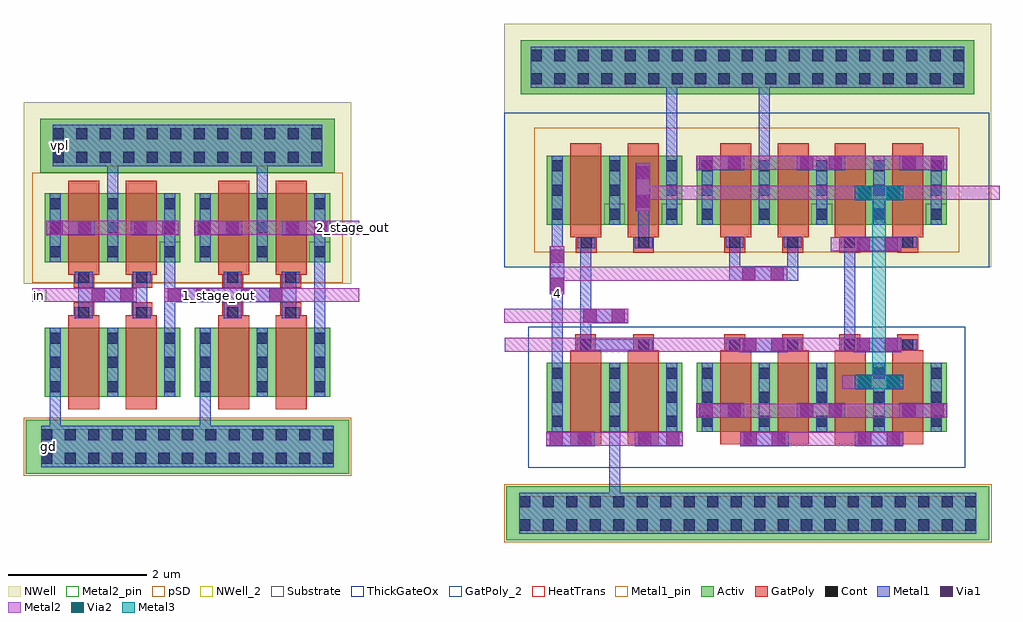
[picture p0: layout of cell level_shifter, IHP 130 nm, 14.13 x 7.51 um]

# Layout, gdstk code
from math import pi, radians
import gdstk
lib = gdstk.Library(unit=1e-6, precision=1e-09)
def R(c, l, rs):  # rectangles x0, y0, x1, y1
    for r in rs: c.add(gdstk.rectangle(r[:2], r[2:], *l))
def A(c, l, x, y, w, h, nx, ny, dx, dy):  # array of equal rectangles
    R(c, l, [(x+i*dx, y+j*dy, x+i*dx+w, y+j*dy+h) for i in range(nx) for j in range(ny)])
Activ = (1, 0)
GatPoly = (5, 0)
GatPoly_2 = (5, 2)
Cont = (6, 0)
Metal1 = (8, 0)
Metal1_pin = (8, 2)
Metal2 = (10, 0)
Metal2_pin = (10, 2)
pSD = (14, 0)
Via1 = (19, 0)
Via2 = (29, 0)
Metal3 = (30, 0)
NWell = (31, 0)
NWell_2 = (31, 2)
Substrate = (40, 0)
ThickGateOx = (44, 0)
HeatTrans = (51, 0)

nmos = lib.new_cell('nmos')
R(nmos, Activ, [(0,0,0.3,0.3), (0,0,1.13,1), (0.83,0,1.13,0.3)])
R(nmos, GatPoly, [(0.34,-0.18,0.79,1.18)])
R(nmos, GatPoly_2, [(0.34,-0.18,0.79,1.18)])
A(nmos, Cont, 0.07, 0.07, 0.16, 0.16, 1, 3, 0, 0.35)
A(nmos, Cont, 0.9, 0.07, 0.16, 0.16, 1, 3, 0, 0.35)
R(nmos, Metal1, [(0.07,0,0.23,1), (0.9,0,1.06,1)])
R(nmos, Metal1_pin, [(0.07,0,0.23,1), (0.9,0,1.06,1)])
R(nmos, HeatTrans, [(0.34,-0.18,0.79,1.18)])
nmos.add(gdstk.Label('nmos', (0.565,0.5), layer=63, texttype=0))
nmos.add(gdstk.Label('nmos', (0.565,0.5), layer=51, texttype=0))

pmos = lib.new_cell('pmos')
A(pmos, Activ, 0, 0, 0.3, 0.3, 3, 1, 0.83, 0)
R(pmos, Activ, [(0,0,1.96,1)])
R(pmos, GatPoly, [(0.34,-0.18,0.79,1.18), (0.34,-0.18,0.79,1.18), (1.17,-0.18,1.62,1.18)])
A(pmos, Cont, 0.07, 0.07, 0.16, 0.16, 3, 3, 0.83, 0.35)
R(pmos, Metal1, [(0.07,0,0.23,1), (0.07,0,0.23,1), (0.9,0,1.06,1), (0.9,0,1.06,1), (1.73,0,1.89,1)])
R(pmos, pSD, [(-0.18,-0.3,2.14,1.3)])
R(pmos, NWell, [(-0.31,-0.31,2.27,1.31)])
R(pmos, Substrate, [(1.66,0,1.96,0.3)])
R(pmos, HeatTrans, [(0.34,-0.18,0.79,1.18), (1.17,-0.18,1.62,1.18)])
pmos.add(gdstk.Label('pmos', (0.565,0.5), layer=63, texttype=0))
pmos.add(gdstk.Label('pmos', (0.565,0.5), layer=51, texttype=0))
pmos.add(gdstk.Label('pmos', (1.395,0.5), layer=51, texttype=0))

ntap1 = lib.new_cell('ntap1')
R(ntap1, Activ, [(0,0,4.27,0.78)])
A(ntap1, Cont, 0.185, 0.14, 0.16, 0.16, 12, 2, 0.34, 0.34)
R(ntap1, Metal1, [(0.185,0.09,4.085,0.69)])
R(ntap1, Metal1_pin, [(0.185,0.09,4.085,0.69), (0.185,0.14,4.085,0.64)])
R(ntap1, NWell, [(-0.24,-0.24,4.51,1.02), (0,0,4.27,0.78)])
R(ntap1, NWell_2, [(0,0,4.27,0.78)])
ntap1.add(gdstk.Label('well', (2.135,0.01), layer=31, texttype=0))
ntap1.add(gdstk.Label('well', (2.135,0.01), layer=63, texttype=0))

via_3 = lib.new_cell('Via$3')
R(via_3, Metal1, [(-0.35,-0.105,0.35,0.105)])
R(via_3, Metal2, [(-0.35,-0.1,0.35,0.1)])
R(via_3, Via1, [(-0.3,-0.095,-0.11,0.095), (0.11,-0.095,0.3,0.095)])

ptap1 = lib.new_cell('ptap1')
R(ptap1, Activ, [(0,0,4.69,0.78)])
A(ptap1, Cont, 0.225, 0.14, 0.16, 0.16, 13, 2, 0.34, 0.34)
R(ptap1, Metal1, [(0.225,0.09,4.465,0.69), (0.225,0.14,4.465,0.64)])
R(ptap1, Metal1_pin, [(0.225,0.14,4.465,0.64)])
R(ptap1, pSD, [(-0.03,-0.03,4.72,0.81)])
R(ptap1, Substrate, [(0,0,4.69,0.78)])
ptap1.add(gdstk.Label('sub!', (2.345,0.01), layer=63, texttype=0))
ptap1.add(gdstk.Label('sub!', (2.345,0.01), layer=40, texttype=0))

via = lib.new_cell('Via')
R(via, GatPoly, [(-0.15,-0.15,0.15,0.15)])
R(via, Cont, [(-0.08,-0.08,0.08,0.08)])
R(via, Metal1, [(-0.13,-0.08,0.13,0.08)])

pmoshv = lib.new_cell('pmosHV')
R(pmoshv, Activ, [(0,0,0.3,0.3), (0,0,1.13,1), (0.83,0,1.13,0.3)])
R(pmoshv, GatPoly, [(0.34,-0.18,0.79,1.18)])
R(pmoshv, GatPoly_2, [(0.34,-0.18,0.79,1.18)])
A(pmoshv, Cont, 0.07, 0.07, 0.16, 0.16, 1, 3, 0, 0.35)
A(pmoshv, Cont, 0.9, 0.07, 0.16, 0.16, 1, 3, 0, 0.35)
R(pmoshv, Metal1, [(0.07,0,0.23,1), (0.9,0,1.06,1)])
R(pmoshv, Metal1_pin, [(0.07,0,0.23,1), (0.9,0,1.06,1)])
R(pmoshv, pSD, [(-0.18,-0.4,1.31,1.4)])
R(pmoshv, NWell, [(-0.62,-0.62,1.75,1.62)])
R(pmoshv, Substrate, [(0.83,0,1.13,0.3)])
R(pmoshv, ThickGateOx, [(-0.62,-0.62,1.75,1.62)])
R(pmoshv, HeatTrans, [(0.34,-0.18,0.79,1.18)])
pmoshv.add(gdstk.Label('pmosHV', (0.565,0.5), layer=63, texttype=0))
pmoshv.add(gdstk.Label('pmos', (0.565,0.5), layer=51, texttype=0))

pmoshv_1 = lib.new_cell('pmosHV$1')
A(pmoshv_1, Activ, 0, 0, 0.3, 0.3, 3, 1, 0.83, 0)
R(pmoshv_1, Activ, [(0,0,1.96,1)])
R(pmoshv_1, GatPoly, [(0.34,-0.18,0.79,1.18), (1.17,-0.18,1.62,1.18)])
R(pmoshv_1, GatPoly_2, [(0.34,-0.18,0.79,1.18)])
A(pmoshv_1, Cont, 0.07, 0.07, 0.16, 0.16, 3, 3, 0.83, 0.35)
A(pmoshv_1, Metal1, 0.07, 0, 0.16, 1, 3, 1, 0.83, 0)
R(pmoshv_1, Metal1_pin, [(0.07,0,0.23,1), (0.9,0,1.06,1)])
R(pmoshv_1, pSD, [(-0.18,-0.4,2.14,1.4)])
R(pmoshv_1, NWell, [(-0.62,-0.62,2.58,1.62)])
R(pmoshv_1, Substrate, [(1.66,0,1.96,0.3)])
R(pmoshv_1, ThickGateOx, [(-0.62,-0.62,2.58,1.62)])
R(pmoshv_1, HeatTrans, [(0.34,-0.18,0.79,1.18), (1.17,-0.18,1.62,1.18)])
pmoshv_1.add(gdstk.Label('pmosHV', (0.565,0.5), layer=63, texttype=0))
pmoshv_1.add(gdstk.Label('pmos', (0.565,0.5), layer=51, texttype=0))
pmoshv_1.add(gdstk.Label('pmos', (1.395,0.5), layer=51, texttype=0))

nmoshv_1 = lib.new_cell('nmosHV$1')
A(nmoshv_1, Activ, 0, 0, 0.3, 0.3, 5, 1, 0.83, 0)
R(nmoshv_1, Activ, [(0,0,3.62,1)])
A(nmoshv_1, GatPoly, 0.34, -0.18, 0.45, 1.36, 4, 1, 0.83, 0)
R(nmoshv_1, GatPoly_2, [(0.34,-0.18,0.79,1.18)])
A(nmoshv_1, Cont, 0.07, 0.07, 0.16, 0.16, 5, 3, 0.83, 0.35)
A(nmoshv_1, Metal1, 0.07, 0, 0.16, 1, 5, 1, 0.83, 0)
R(nmoshv_1, Metal1_pin, [(0.07,0,0.23,1), (0.9,0,1.06,1)])
R(nmoshv_1, ThickGateOx, [(-0.27,-0.52,3.89,1.52)])
A(nmoshv_1, HeatTrans, 0.34, -0.18, 0.45, 1.36, 4, 1, 0.83, 0)
nmoshv_1.add(gdstk.Label('nmosHV', (0.565,0.5), layer=63, texttype=0))
nmoshv_1.add(gdstk.Label('nmosHV', (0.565,0.5), layer=51, texttype=0))
nmoshv_1.add(gdstk.Label('nmosHV', (1.395,0.5), layer=51, texttype=0))
nmoshv_1.add(gdstk.Label('nmosHV', (2.225,0.5), layer=51, texttype=0))
nmoshv_1.add(gdstk.Label('nmosHV', (3.055,0.5), layer=51, texttype=0))

ntap1_1 = lib.new_cell('ntap1$1')
R(ntap1_1, Activ, [(0,0,6.57,0.78)])
A(ntap1_1, Cont, 0.145, 0.14, 0.16, 0.16, 19, 2, 0.34, 0.34)
R(ntap1_1, Metal1, [(0.145,0.09,6.425,0.69)])
R(ntap1_1, Metal1_pin, [(0.145,0.09,6.425,0.69), (0.145,0.14,6.425,0.64)])
R(ntap1_1, NWell, [(-0.24,-0.24,6.81,1.02), (0,0,6.57,0.78)])
R(ntap1_1, NWell_2, [(0,0,6.57,0.78)])
ntap1_1.add(gdstk.Label('well', (3.285,0.01), layer=31, texttype=0))
ntap1_1.add(gdstk.Label('well', (3.285,0.01), layer=63, texttype=0))

nmoshv = lib.new_cell('nmosHV')
A(nmoshv, Activ, 0, 0, 0.3, 0.3, 3, 1, 0.83, 0)
R(nmoshv, Activ, [(0,0,1.96,1)])
R(nmoshv, GatPoly, [(0.34,-0.18,0.79,1.18), (1.17,-0.18,1.62,1.18)])
R(nmoshv, GatPoly_2, [(0.34,-0.18,0.79,1.18)])
A(nmoshv, Cont, 0.07, 0.07, 0.16, 0.16, 3, 3, 0.83, 0.35)
A(nmoshv, Metal1, 0.07, 0, 0.16, 1, 3, 1, 0.83, 0)
R(nmoshv, Metal1_pin, [(0.07,0,0.23,1), (0.9,0,1.06,1)])
R(nmoshv, ThickGateOx, [(-0.27,-0.52,2.23,1.52)])
R(nmoshv, HeatTrans, [(0.34,-0.18,0.79,1.18), (1.17,-0.18,1.62,1.18)])
nmoshv.add(gdstk.Label('nmosHV', (0.565,0.5), layer=63, texttype=0))
nmoshv.add(gdstk.Label('nmosHV', (0.565,0.5), layer=51, texttype=0))
nmoshv.add(gdstk.Label('nmosHV', (1.395,0.5), layer=51, texttype=0))

ptap1_1 = lib.new_cell('ptap1$1')
R(ptap1_1, Activ, [(0,0,7,0.78)])
A(ptap1_1, Cont, 0.19, 0.14, 0.16, 0.16, 20, 2, 0.34, 0.34)
R(ptap1_1, Metal1, [(0.19,0.09,6.81,0.69), (0.19,0.14,6.81,0.64)])
R(ptap1_1, Metal1_pin, [(0.19,0.14,6.81,0.64)])
R(ptap1_1, pSD, [(-0.03,-0.03,7.03,0.81)])
R(ptap1_1, Substrate, [(0,0,7,0.78)])
ptap1_1.add(gdstk.Label('sub!', (3.5,0.01), layer=63, texttype=0))
ptap1_1.add(gdstk.Label('sub!', (3.5,0.01), layer=40, texttype=0))

via_2 = lib.new_cell('Via$2')
R(via_2, Metal1, [(-0.35,-0.105,0.35,0.105)])
R(via_2, Metal2, [(-0.35,-0.1,0.35,0.1)])
R(via_2, Via1, [(-0.3,-0.095,-0.11,0.095), (0.11,-0.095,0.3,0.095)])

via_7 = lib.new_cell('Via$7')
R(via_7, Metal2, [(-0.35,-0.1,0.35,0.1)])
R(via_7, Via2, [(-0.3,-0.095,-0.11,0.095), (0.11,-0.095,0.3,0.095)])
R(via_7, Metal3, [(-0.35,-0.1,0.35,0.1)])

level_shifter = lib.new_cell('level_shifter')
R(level_shifter, Metal1, [(23.125,24.025,23.175,24.375), (23.755,24.025,23.965,24.375), (25.07,24.025,25.12,24.375), (25.28,24.025,25.33,24.375), (25.91,24.025,25.965,24.375), (24.91,24.095,25.29,24.305)])
R(level_shifter, Metal1_pin, [(22.425,21.905,22.625,22.105), (22.595,26.265,22.795,26.465)])
R(level_shifter, Metal2_pin, [(22.3,24.1,22.5,24.3)])
R(level_shifter, NWell, [(29.13,24.6,36.185,28.13)])
level_shifter.add(gdstk.FlexPath([(22.63,22.725),(22.63,22.305)], 0.16, ends="flush", simple_path=True, layer=8, datatype=0))  # Metal1
level_shifter.add(gdstk.FlexPath([(25.2,23.945),(25.2,24.455)], 0.16, ends="flush", simple_path=True, layer=8, datatype=0))  # Metal1
level_shifter.add(gdstk.FlexPath([(26.04,23.945),(26.04,24.455)], 0.16, ends="flush", simple_path=True, layer=8, datatype=0))  # Metal1
level_shifter.add(gdstk.FlexPath([(24.83,25.175),(24.83,25.175)], 0.16, ends="flush", simple_path=True, layer=8, datatype=0))  # Metal1
level_shifter.add(gdstk.FlexPath([(26.46,24.675),(26.46,23.725)], 0.16, ends="flush", simple_path=True, layer=8, datatype=0))  # Metal1
level_shifter.add(gdstk.FlexPath([(24.8,22.725),(24.8,22.305)], 0.16, ends="flush", simple_path=True, layer=8, datatype=0))  # Metal1
level_shifter.add(gdstk.FlexPath([(23.46,25.675),(23.46,26.065)], 0.16, ends="flush", simple_path=True, layer=8, datatype=0))  # Metal1
level_shifter.add(gdstk.FlexPath([(25.63,25.675),(25.63,26.065)], 0.16, ends="flush", simple_path=True, layer=8, datatype=0))  # Metal1
level_shifter.add(gdstk.FlexPath([(31.15,23.48),(30.31,23.48)], 0.16, ends="flush", simple_path=True, layer=8, datatype=0))  # Metal1
level_shifter.add(gdstk.FlexPath([(30.31,24.96),(30.31,23.48)], 0.16, ends="flush", simple_path=True, layer=8, datatype=0))  # Metal1
level_shifter.add(gdstk.FlexPath([(30.31,24.17),(30.31,24.17)], 0.16, ends="flush", simple_path=True, layer=8, datatype=0))  # Metal1
level_shifter.add(gdstk.FlexPath([(29.92,22.115),(29.92,22.115)], 0.16, ends="flush", simple_path=True, layer=8, datatype=0))  # Metal1
level_shifter.add(gdstk.FlexPath([(29.9,25.22),(29.9,23.22)], 0.16, ends="flush", simple_path=True, layer=8, datatype=0))  # Metal1
level_shifter.add(gdstk.FlexPath([(30.73,22.22),(30.73,21.34)], 0.16, ends="flush", simple_path=True, layer=8, datatype=0))  # Metal1
level_shifter.add(gdstk.FlexPath([(31.56,26.22),(31.56,27.2)], 0.16, ends="flush", simple_path=True, layer=8, datatype=0))  # Metal1
level_shifter.add(gdstk.FlexPath([(32.9,26.22),(32.9,27.2)], 0.16, ends="flush", simple_path=True, layer=8, datatype=0))  # Metal1
level_shifter.add(gdstk.FlexPath([(34.135,24.965),(34.975,24.965)], 0.16, ends="flush", simple_path=True, layer=8, datatype=0))  # Metal1
level_shifter.add(gdstk.FlexPath([(31.15,24.96),(31.15,24.96)], 0.16, ends="flush", simple_path=True, layer=8, datatype=0))  # Metal1
level_shifter.add(gdstk.FlexPath([(34.56,25.68),(34.56,25.68)], 0.16, ends="flush", simple_path=True, layer=8, datatype=0))  # Metal1
level_shifter.add(gdstk.FlexPath([(32.47,24.965),(32.47,24.405)], 0.16, ends="flush", simple_path=True, layer=8, datatype=0))  # Metal1
level_shifter.add(gdstk.FlexPath([(33.31,24.965),(33.31,24.405)], 0.16, ends="flush", simple_path=True, layer=8, datatype=0))  # Metal1
level_shifter.add(gdstk.FlexPath([(34.135,24.965),(34.135,23.48)], 0.16, ends="flush", simple_path=True, layer=8, datatype=0))  # Metal1
level_shifter.add(gdstk.FlexPath([(31.15,24.96),(31.15,25.68)], 0.16, ends="flush", simple_path=True, layer=8, datatype=0))  # Metal1
level_shifter.add(gdstk.FlexPath([(23.045,23.945),(23.045,24.455)], 0.16, ends="flush", simple_path=True, layer=8, datatype=0))  # Metal1
level_shifter.add(gdstk.FlexPath([(23.885,23.945),(23.885,24.455)], 0.16, ends="flush", simple_path=True, layer=8, datatype=0))  # Metal1
level_shifter.add(gdstk.FlexPath([(24.29,24.675),(24.29,23.725)], 0.16, ends="flush", simple_path=True, layer=8, datatype=0))  # Metal1
level_shifter.add(gdstk.FlexPath([(22.63,25.175),(22.63,25.175)], 0.16, ends="flush", simple_path=True, layer=8, datatype=0))  # Metal1
level_shifter.add(gdstk.FlexPath([(23.255,24.2),(22.3,24.2)], 0.2, ends="flush", simple_path=True, layer=10, datatype=0))  # Metal2
level_shifter.add(gdstk.FlexPath([(24.765,24.2),(25.415,24.2)], 0.2, ends="flush", simple_path=True, layer=10, datatype=0))  # Metal2
level_shifter.add(gdstk.FlexPath([(25.255,25.175),(26.065,25.175)], 0.2, ends="flush", simple_path=True, layer=10, datatype=0))  # Metal2
level_shifter.add(gdstk.FlexPath([(25.825,24.2),(27.035,24.2)], 0.2, ends="flush", simple_path=True, layer=10, datatype=0))  # Metal2
level_shifter.add(gdstk.FlexPath([(26.475,25.175),(27.035,25.175)], 0.2, ends="flush", simple_path=True, layer=10, datatype=0))  # Metal2
level_shifter.add(gdstk.FlexPath([(30.345,22.115),(31.155,22.115)], 0.2, ends="flush", simple_path=True, layer=10, datatype=0))  # Metal2
level_shifter.add(gdstk.FlexPath([(30.375,23.9),(29.13,23.9)], 0.2, ends="flush", simple_path=True, layer=10, datatype=0))  # Metal2
level_shifter.add(gdstk.FlexPath([(32.64,24.51),(29.9,24.51)], 0.2, ends="flush", simple_path=True, layer=10, datatype=0))  # Metal2
level_shifter.add(gdstk.FlexPath([(33.105,22.115),(34.355,22.115)], 0.2, ends="flush", simple_path=True, layer=10, datatype=0))  # Metal2
level_shifter.add(gdstk.FlexPath([(32.62,23.48),(29.14,23.48)], 0.2, ends="flush", simple_path=True, layer=10, datatype=0))  # Metal2
level_shifter.add(gdstk.FlexPath([(33.86,24.935),(34.33,24.935)], 0.2, ends="flush", simple_path=True, layer=10, datatype=0))  # Metal2
level_shifter.add(gdstk.FlexPath([(34.56,25.68),(34.56,25.68)], 0.2, ends="flush", simple_path=True, layer=10, datatype=0))  # Metal2
level_shifter.add(gdstk.FlexPath([(32.055,26.115),(35.55,26.115)], 0.2, ends="flush", simple_path=True, layer=10, datatype=0))  # Metal2
level_shifter.add(gdstk.FlexPath([(32.055,22.525),(35.55,22.525)], 0.2, ends="flush", simple_path=True, layer=10, datatype=0))  # Metal2
level_shifter.add(gdstk.FlexPath([(34.765,25.68),(31.145,25.68)], 0.2, ends="flush", simple_path=True, layer=10, datatype=0))  # Metal2
level_shifter.add(gdstk.FlexPath([(34.91,22.94),(34.025,22.94)], 0.2, ends="flush", simple_path=True, layer=10, datatype=0))  # Metal2
level_shifter.add(gdstk.FlexPath([(33.095,23.48),(34.74,23.48)], 0.2, ends="flush", simple_path=True, layer=10, datatype=0))  # Metal2
level_shifter.add(gdstk.FlexPath([(34.765,25.68),(36.305,25.68)], 0.2, ends="flush", simple_path=True, layer=10, datatype=0))  # Metal2
level_shifter.add(gdstk.FlexPath([(23.055,25.175),(23.865,25.175)], 0.2, ends="flush", simple_path=True, layer=10, datatype=0))  # Metal2
level_shifter.add(gdstk.FlexPath([(25.2,24.495),(25.2,24.495)], 0.16, ends="flush", simple_path=True, layer=5, datatype=0))  # GatPoly
level_shifter.add(gdstk.FlexPath([(23.045,24.495),(23.045,24.495)], 0.16, ends="flush", simple_path=True, layer=5, datatype=0))  # GatPoly
level_shifter.add(gdstk.FlexPath([(34.56,22.94),(34.56,25.68)], 0.2, ends="flush", simple_path=True, layer=30, datatype=0))  # Metal3
level_shifter.add(gdstk.Reference(nmos, (22.48,22.725)))
level_shifter.add(gdstk.Reference(nmos, (23.31,22.725)))
level_shifter.add(gdstk.Reference(pmos, (24.65,24.675)))
level_shifter.add(gdstk.Reference(nmos, (24.65,22.725)))
level_shifter.add(gdstk.Reference(nmos, (25.48,22.725)))
level_shifter.add(gdstk.Reference(ntap1, (22.41,25.975)))
level_shifter.add(gdstk.Reference(via_3, (24.07,25.175)))
level_shifter.add(gdstk.Reference(via_3, (22.85,25.175)))
level_shifter.add(gdstk.Reference(pmos, (22.48,24.675)))
level_shifter.add(gdstk.Reference(ptap1, (22.2,21.615)))
level_shifter.add(gdstk.Reference(via, (25.2,23.945)))
level_shifter.add(gdstk.Reference(via, (26.04,23.945)))
level_shifter.add(gdstk.Reference(via_3, (25.62,24.2)))
level_shifter.add(gdstk.Reference(via, (25.2,24.455)))
level_shifter.add(gdstk.Reference(via, (26.04,24.455)))
level_shifter.add(gdstk.Reference(via_3, (24.56,24.2)))
level_shifter.add(gdstk.Reference(via_3, (26.27,25.175)))
level_shifter.add(gdstk.Reference(via_3, (24.99,25.175)))
level_shifter.add(gdstk.Reference(pmoshv, (29.75,25.22)))
level_shifter.add(gdstk.Reference(pmoshv, (30.58,25.22)))
level_shifter.add(gdstk.Reference(pmoshv_1, (31.92,25.22)))
level_shifter.add(gdstk.Reference(nmoshv_1, (31.92,22.22)))
level_shifter.add(gdstk.Reference(pmoshv_1, (33.58,25.22)))
level_shifter.add(gdstk.Reference(ntap1_1, (29.37,27.11)))
level_shifter.add(gdstk.Reference(via, (23.885,24.455)))
level_shifter.add(gdstk.Reference(via, (23.045,24.455)))
level_shifter.add(gdstk.Reference(via_3, (23.46,24.2)))
level_shifter.add(gdstk.Reference(via, (23.885,23.945)))
level_shifter.add(gdstk.Reference(via, (23.045,23.945)))
level_shifter.add(gdstk.Reference(via, (30.31,23.48)))
level_shifter.add(gdstk.Reference(via, (31.15,23.48)))
level_shifter.add(gdstk.Reference(nmoshv, (29.75,22.22)))
level_shifter.add(gdstk.Reference(ptap1_1, (29.16,20.65)))
level_shifter.add(gdstk.Reference(via, (30.32,24.96), rotation=pi))
level_shifter.add(gdstk.Reference(via, (31.15,24.96)))
level_shifter.add(gdstk.Reference(via_2, (30.58,23.9)))
level_shifter.add(gdstk.Reference(via_3, (31.37,22.115)))
level_shifter.add(gdstk.Reference(via_3, (30.09,22.115)))
level_shifter.add(gdstk.Reference(via, (32.47,23.48)))
level_shifter.add(gdstk.Reference(via, (33.31,23.48)))
level_shifter.add(gdstk.Reference(via, (34.135,23.48), rotation=pi))
level_shifter.add(gdstk.Reference(via, (34.975,23.48)))
level_shifter.add(gdstk.Reference(via, (32.47,24.965)))
level_shifter.add(gdstk.Reference(via, (33.31,24.965)))
level_shifter.add(gdstk.Reference(via, (34.135,24.965)))
level_shifter.add(gdstk.Reference(via, (34.975,24.965)))
level_shifter.add(gdstk.Reference(via_2, (29.9,24.56), rotation=pi/2))
level_shifter.add(gdstk.Reference(via_2, (32.88,24.51)))
level_shifter.add(gdstk.Reference(via_2, (32.26,26.115)))
level_shifter.add(gdstk.Reference(via_2, (33.72,26.115)))
level_shifter.add(gdstk.Reference(via_2, (35.2,26.115)))
level_shifter.add(gdstk.Reference(via_2, (32.26,22.525)))
level_shifter.add(gdstk.Reference(via_2, (33.72,22.525)))
level_shifter.add(gdstk.Reference(via_2, (35.2,22.525)))
level_shifter.add(gdstk.Reference(via_2, (32.9,22.115)))
level_shifter.add(gdstk.Reference(via_2, (34.56,22.115)))
level_shifter.add(gdstk.Reference(via_2, (32.89,23.48)))
level_shifter.add(gdstk.Reference(via_2, (31.145,25.765), rotation=3*pi/2))
level_shifter.add(gdstk.Reference(via_2, (34.535,24.935)))
level_shifter.add(gdstk.Reference(via_2, (34.535,23.48)))
level_shifter.add(gdstk.Reference(via_2, (34.56,25.68)))
level_shifter.add(gdstk.Reference(via_7, (34.56,25.68)))
level_shifter.add(gdstk.Reference(via_2, (34.56,22.94)))
level_shifter.add(gdstk.Reference(via_7, (34.56,22.94)))
level_shifter.add(gdstk.Label('4', (29.9,24.22), layer=8, texttype=0))
level_shifter.add(gdstk.Label('1_stage_out', (25.015,24.2), layer=10, texttype=0))
level_shifter.add(gdstk.Label('2_stage_out', (26.95,25.175), layer=10, texttype=0))
level_shifter.add(gdstk.Label('in', (22.4,24.2), layer=10, texttype=25))
level_shifter.add(gdstk.Label('vpl', (22.695,26.365), layer=8, texttype=25))
level_shifter.add(gdstk.Label('gd', (22.525,22.005), layer=8, texttype=25))

lib.write_gds('level_shifter.gds')
